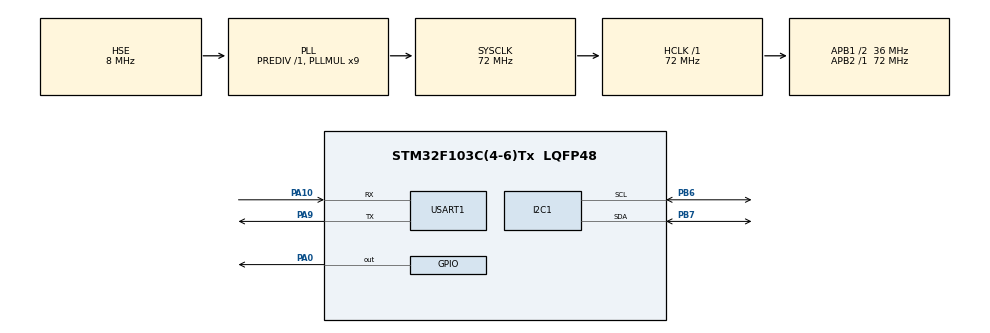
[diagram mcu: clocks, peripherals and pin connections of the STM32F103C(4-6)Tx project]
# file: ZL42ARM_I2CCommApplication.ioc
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Mcu.Family=STM32F1
Mcu.Name=STM32F103C(4-6)Tx
Mcu.Package=LQFP48
NVIC.PriorityGroup=NVIC_PRIORITYGROUP_4
NVIC.TIM3_IRQn=true\:0\:0\:false\:false\:true\:true\:true
PA0-WKUP.GPIO_ModeDefaultOutputPP=GPIO_MODE_OUTPUT_OD
PA0-WKUP.Signal=GPIO_Output
PA10.Mode=Asynchronous
PA10.Signal=USART1_RX
PA13.Mode=Trace_Asynchronous_SW
PA13.Signal=SYS_JTMS-SWDIO
PA14.Mode=Trace_Asynchronous_SW
PA14.Signal=SYS_JTCK-SWCLK
PA9.Mode=Asynchronous
PA9.Signal=USART1_TX
PB3.Mode=Trace_Asynchronous_SW
PB3.Signal=SYS_JTDO-TRACESWO
PB6.Mode=I2C
PB6.Signal=I2C1_SCL
PB7.Mode=I2C
PB7.Signal=I2C1_SDA
PD0-OSC_IN.Mode=HSE-External-Oscillator
PD0-OSC_IN.Signal=RCC_OSC_IN
PD1-OSC_OUT.Mode=HSE-External-Oscillator
PD1-OSC_OUT.Signal=RCC_OSC_OUT
ProjectManager.HeapSize=0x200
ProjectManager.StackSize=0x400
ProjectManager.TargetToolchain=STM32CubeIDE
RCC.AHBFreq_Value=72000000
RCC.APB1CLKDivider=RCC_HCLK_DIV2
RCC.APB1Freq_Value=36000000
RCC.APB1TimFreq_Value=72000000
RCC.APB2Freq_Value=72000000
RCC.APB2TimFreq_Value=72000000
RCC.EnbaleCSS=true
RCC.HCLKFreq_Value=72000000
RCC.PLLMUL=RCC_PLL_MUL9
RCC.PLLSourceVirtual=RCC_PLLSOURCE_HSE
RCC.SYSCLKFreq_VALUE=72000000
RCC.SYSCLKSource=RCC_SYSCLKSOURCE_PLLCLK
RCC.USBFreq_Value=72000000
TIM3.AutoReloadPreload=TIM_AUTORELOAD_PRELOAD_ENABLE
TIM3.Period=0x00b3
USART1.VirtualMode=VM_ASYNC
VP_TIM3_VS_ClockSourceINT.Mode=Internal
board=custom

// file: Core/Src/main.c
/* USER CODE BEGIN Header */
/**
 ******************************************************************************
 * @file           : main.c
 * @brief          : Main program body
 ******************************************************************************
 * @attention
 *
 * <h2><center>&copy; Copyright (c) 2021 STMicroelectronics.
 * All rights reserved.</center></h2>
 *
 * This software component is licensed by ST under BSD 3-Clause license,
 * the "License"; You may not use this file except in compliance with the
 * License. You may obtain a copy of the License at:
 *                        opensource.org/licenses/BSD-3-Clause
 *
 ******************************************************************************
 */
/* USER CODE END Header */
#include "main.h"
#include "i2c.h"
#include "tim.h"
#include "usart.h"
#include "gpio.h"

/* USER CODE BEGIN Includes */
#include <stdio.h>
/* USER CODE END Includes */

/* USER CODE BEGIN PTD */
typedef

/* USER CODE END PTD */

/* USER CODE BEGIN PD */
#define I2C_RTC_WRITE_ADDR 0xa0
#define I2C_RTC_READ_ADDR 0xa1

// Currently unused
#define I2C_EXPANDER_01_WRITE_ADDR 0x40
#define I2C_EXPANDER_01_READ_ADDR 0x41

// Only LED, on 3 lowest bits
#define I2C_EXPANDER_LED_WRITE_ADDR 0x70
#define I2C_EXPANDER_LED_READ_ADDR 0x71

// P0 -> RS
// P1 -> RW
// P2 -> E
// P3 -> <backlight>
// P4 -> D4
// P5 -> D5
// P6 -> D6
// P7 -> D7

#define	I2C_EXPANDER_MAX_TIMEOUT	0xffff

// HD44780
#define I2C_EXPANDER_LCD_DISPLAY_WRITE_ADDR 0x7e
#define I2C_EXPANDER_LCD_DISPLAY_READ_ADDR 0x7f

/* USER CODE END PD */

/* USER CODE BEGIN PV */
char expander_data;
uint8_t tim_status;
uint32_t timer[10];
/* USER CODE END PV */

void SystemClock_Config(void);
/* USER CODE BEGIN PFP */
 void HAL_TIM_PeriodElapsedCallback(TIM_HandleTypeDef *htim);
/* USER CODE END PFP */

/* USER CODE BEGIN 0 */
// test func, for communication
void LED_SendDataToExpander(uint8_t color) {
	uint8_t data_to_send[4];
	switch (color) {
	case 0:
		data_to_send[0] = 0x07;
		break;
	case 1:
		data_to_send[0] = 0x06;
		break;
	case 2:
		data_to_send[0] = 0x05;
		break;
	case 3:
		data_to_send[0] = 0x03;
		break;
	default:
		data_to_send[0] = 0x00;
		break;
	}

	HAL_I2C_Master_Transmit(&hi2c1, I2C_EXPANDER_LED_WRITE_ADDR, data_to_send,
			1, I2C_EXPANDER_MAX_TIMEOUT);
}

uint8_t LED_ReadDataFromExpander(){
	uint8_t i2c_data_buff[4];

	i2c_data_buff[0] = 0x8;
	HAL_I2C_Master_Transmit(&hi2c1, I2C_EXPANDER_LED_WRITE_ADDR, &i2c_data_buff[0],
				1, I2C_EXPANDER_MAX_TIMEOUT);

	// data_to_send[2]
	HAL_I2C_Master_Receive(&hi2c1, I2C_EXPANDER_LED_READ_ADDR, &i2c_data_buff[2], 1, I2C_EXPANDER_MAX_TIMEOUT);
	return i2c_data_buff[2];
}

void LCD_SendDataToExpander(const uint8_t *data, uint8_t datacount) {
	HAL_I2C_Master_Transmit(&hi2c1, I2C_EXPANDER_LCD_DISPLAY_WRITE_ADDR, data,
			datacount, I2C_EXPANDER_MAX_TIMEOUT);
}

uint8_t LCD_ReadDataFromExpander() {
	uint8_t buffer_to_send;
	uint8_t read_buffer[4];
	buffer_to_send = 0xf0;		// read only HiNibble of the expander

	buffer_to_send = buffer_to_send & ~(1);			// clear RS
	buffer_to_send = buffer_to_send | (1 << 1);		// set R/W
	buffer_to_send = buffer_to_send & ~(1 << 2); 	// clear E
	buffer_to_send = buffer_to_send | (1 << 3);
	HAL_I2C_Master_Transmit(&hi2c1, I2C_EXPANDER_LCD_DISPLAY_WRITE_ADDR,
			buffer_to_send, 1, I2C_EXPANDER_MAX_TIMEOUT);

	buffer_to_send = buffer_to_send & ~(1);			// clear RS
	buffer_to_send = buffer_to_send | (1 << 1);		// set R/W
	buffer_to_send = buffer_to_send | (1 << 2); 	// set E
	buffer_to_send = buffer_to_send | (1 << 3);
	HAL_I2C_Master_Transmit(&hi2c1, I2C_EXPANDER_LCD_DISPLAY_WRITE_ADDR,
			buffer_to_send, 1, I2C_EXPANDER_MAX_TIMEOUT);

	// read data from I2C expander
	HAL_I2C_Master_Receive(&hi2c1, I2C_EXPANDER_LCD_DISPLAY_READ_ADDR,
			&read_buffer[0], 1, I2C_EXPANDER_MAX_TIMEOUT);

	buffer_to_send = buffer_to_send | (1 << 1);		// set R/W
	buffer_to_send = buffer_to_send & ~(1 << 2); 	// clear E
	buffer_to_send = buffer_to_send | (1 << 3);
	HAL_I2C_Master_Transmit(&hi2c1, I2C_EXPANDER_LCD_DISPLAY_WRITE_ADDR,
			buffer_to_send, 1, I2C_EXPANDER_MAX_TIMEOUT);

	buffer_to_send = buffer_to_send | (1 << 1);		// set R/W
	buffer_to_send = buffer_to_send | (1 << 2); 	// set E
	buffer_to_send = buffer_to_send | (1 << 3);
	HAL_I2C_Master_Transmit(&hi2c1, I2C_EXPANDER_LCD_DISPLAY_WRITE_ADDR,
			buffer_to_send, 1, I2C_EXPANDER_MAX_TIMEOUT);

	// read data from I2C expander
	HAL_I2C_Master_Receive(&hi2c1, I2C_EXPANDER_LCD_DISPLAY_READ_ADDR,
			&read_buffer[1], 1, I2C_EXPANDER_MAX_TIMEOUT);

	buffer_to_send = buffer_to_send & ~(1 << 1);		// set R/W
		buffer_to_send = buffer_to_send & ~(1 << 2); 	// clear E
		buffer_to_send = buffer_to_send | (1 << 3);
		HAL_I2C_Master_Transmit(&hi2c1, I2C_EXPANDER_LCD_DISPLAY_WRITE_ADDR,
				buffer_to_send, 1, I2C_EXPANDER_MAX_TIMEOUT);

	return read_buffer[0] | (read_buffer[1] >> 4);
}

void LCD_SetBacklight(uint8_t state) {
	uint8_t buff[2];
	if (0 != state)
		buff[0] |= (1 << 3);
	else
		buff[0] &= ~(1 << 3);

	LCD_SendDataToExpander(buff, 1);
}

void I2C_LCD_SendData(uint8_t data) {
	uint8_t databuff[2];
	// send HiNibble
	databuff[0] = (data & 0xf0) | 0x09;
	LCD_SendDataToExpander(databuff, 1);
	HAL_Delay(1);

	databuff[0] = (data & 0xf0) | 0x0d;
	LCD_SendDataToExpander(databuff, 1);
	HAL_Delay(1);

	// send LoNibble
	databuff[0] = ((data & 0x0f) << 4) | 0x09;
	LCD_SendDataToExpander(databuff, 1);
	HAL_Delay(1);

	databuff[0] = ((data & 0x0f) << 4) | 0x0d;
	LCD_SendDataToExpander(databuff, 1);
	HAL_Delay(1);
}

void I2C_LCD_SendCommandByte(uint8_t data) {
	uint8_t databuff[2];

	// send HiNibble
	databuff[0] = (data & 0xf0) | 0x08;
	LCD_SendDataToExpander(databuff, 1);
	HAL_Delay(1);

	databuff[0] = (data & 0xf0) | 0x0c;
	LCD_SendDataToExpander(databuff, 1);
	HAL_Delay(1);

	// send LoNibble
	databuff[0] = ((data & 0x0f) << 4) | 0x08;
	LCD_SendDataToExpander(databuff, 1);
	HAL_Delay(1);

	databuff[0] = ((data & 0x0f) << 4) | 0x0c;
	LCD_SendDataToExpander(databuff, 1);
	HAL_Delay(1);
}

uint8_t I2C_LCD_ReadData() {
	uint8_t databuff[2];
	//init_buff[0] = 0xf8;	// D[7..4] = 0x03 BL = 1, E = 0, RW = 0, RS = 0
	//LCD_SendDataToExpander(init_buff, 1);
	//init_buff[0] = 0xfc;	// D[7..4] = 0x03 BL = 1, E = 0, RW = 0, RS = 0
	//LCD_SendDataToExpander(init_buff, 1);
	return 0;
}

void I2C_LCDInit() {
	uint8_t init_buff[2];

	HAL_Delay(1500);
	init_buff[0] = 0x38;	// D[7..4] = 0x03 BL = 1, E = 0, RW = 0, RS = 0
	LCD_SendDataToExpander(init_buff, 1);

	init_buff[0] = 0x3c;	// D[7..4] = 0x03 BL = 1, E = 1, RW = 0, RS = 0
	LCD_SendDataToExpander(init_buff, 1);
	HAL_Delay(4);

	// (2)
	init_buff[0] = 0x38;	// D[7..4] = 0x03 BL = 1, E = 0, RW = 0, RS = 0
	LCD_SendDataToExpander(init_buff, 1);

	init_buff[0] = 0x3c;	// D[7..4] = 0x03 BL = 1, E = 1, RW = 0, RS = 0
	LCD_SendDataToExpander(init_buff, 1);
	HAL_Delay(1);

	// (3)
	init_buff[0] = 0x38;	// D[7..4] = 0x03 BL = 1, E = 0, RW = 0, RS = 0
	LCD_SendDataToExpander(init_buff, 1);

	init_buff[0] = 0x3c;	// D[7..4] = 0x03 BL = 1, E = 1, RW = 0, RS = 0
	LCD_SendDataToExpander(init_buff, 1);
	HAL_Delay(1);

	//
	init_buff[0] = 0x28;	// D[7..4] = 0x02 BL = 1, E = 0, RW = 0, RS = 0
	LCD_SendDataToExpander(init_buff, 1);

	init_buff[0] = 0x2c;	// D[7..4] = 0x02 BL = 1, E = 1, RW = 0, RS = 0
	LCD_SendDataToExpander(init_buff, 1);

	// Właściwa inicjalizacja zakończona, ustawianie parametrów
	// Ustawiamy parametry: N = 1 F = 0
	I2C_LCD_SendCommandByte(0x28);

	I2C_LCD_SendCommandByte(0x08);

	I2C_LCD_SendCommandByte(0x01);

	// I/D = 1 S = 0
	I2C_LCD_SendCommandByte(0x06);

}
void HAL_TIM_PeriodElapsedCallback(TIM_HandleTypeDef *htim){
	if (TIM3 == htim->Instance){
		my_Tim3_Elapsed();
	}
}
/* USER CODE END 0 */

int main(void)
{
  /* USER CODE BEGIN 1 */
	uint8_t tmp_soft_tmr_iterator;
	char curr_color;

	uint8_t i2c_data_count;
	char i2c_comm_buffer[256];

	uint8_t backlight;

	uint8_t data_to_send, command_to_send;

	uint8_t testvar;

	uint8_t counter;
	uint8_t line_01[16] = "Juz umiem       ";
	uint8_t *line1_ptr = &line_01[0];
	uint8_t line_02[16] = "  w wyswietlacz!";
	uint8_t *line2_ptr = &line_02[0];

  /* USER CODE END 1 */

  /* MCU Configuration--------------------------------------------------------*/

  /* Reset of all peripherals, Initializes the Flash interface and the Systick. */
  HAL_Init();

  /* Configure the system clock */
  SystemClock_Config();

  /* Initialize all configured peripherals */
  MX_GPIO_Init();
  MX_I2C1_Init();
  MX_USART1_UART_Init();
  MX_TIM3_Init();
  /* USER CODE BEGIN 2 */

  // LCD init
	I2C_LCDInit();
	// (1)

	// uruchamiamy timer[0]
	HAL_TIM_Base_Start_IT(&htim3);

	timer[0] = 500000000;

  /* USER CODE END 2 */

  /* Infinite loop */
	while (1) {

    /* USER CODE BEGIN 3 */

		if (tim_status) {
			// timer elapsed, need to be updated
			/* for (tmp_soft_tmr_iterator = 0; tmp_soft_tmr_iterator < 10;
					tmp_soft_tmr_iterator++) {
				if (0 != timer[tmp_soft_tmr_iterator]) {
					--timer[tmp_soft_tmr_iterator];
				} else {
					// run action

				}
			}*/
			if (0 != timer[0]){
			HAL_GPIO_TogglePin(GPIOA, GPIO_PIN_0);
			--timer[0];
			} else
				timer[0] = 500000000;
			/* if (curr_color < 5)
				curr_color++;
			else
				curr_color = 0;
			LED_SendDataToExpander(curr_color);
			tim_status = 0;
			*/
		}

		// This block is only for testing
		if (0) {
			I2C_LCD_SendCommandByte(0x08 + 0x04 + 0x02);

			// set pos to 0,0
			I2C_LCD_SendCommandByte(0x80);
			for (counter = 0; counter < 16; counter++) {
				I2C_LCD_SendData(*line1_ptr++);
			}
			line1_ptr = &line_01;

			i2c_comm_buffer[0]=LCD_ReadDataFromExpander();

			// set pos to 0,1
			I2C_LCD_SendCommandByte(0x80 + 0x40);
			for (counter = 0; counter < 16; counter++) {
				I2C_LCD_SendData(*line2_ptr++);
			}
			line2_ptr = &line2_ptr;

			testvar = LED_ReadDataFromExpander();
			if (testvar & 0x80){
				LED_SendDataToExpander(5);
			}
			else {
				LED_SendDataToExpander(0);
			}
		}

	}
  /* USER CODE END 3 */
}

void SystemClock_Config(void)
{
  RCC_OscInitTypeDef RCC_OscInitStruct = {0};
  RCC_ClkInitTypeDef RCC_ClkInitStruct = {0};

  /** Initializes the RCC Oscillators according to the specified parameters
  * in the RCC_OscInitTypeDef structure.
  */
  RCC_OscInitStruct.OscillatorType = RCC_OSCILLATORTYPE_HSE;
  RCC_OscInitStruct.HSEState = RCC_HSE_ON;
  RCC_OscInitStruct.HSEPredivValue = RCC_HSE_PREDIV_DIV1;
  RCC_OscInitStruct.HSIState = RCC_HSI_ON;
  RCC_OscInitStruct.PLL.PLLState = RCC_PLL_ON;
  RCC_OscInitStruct.PLL.PLLSource = RCC_PLLSOURCE_HSE;
  RCC_OscInitStruct.PLL.PLLMUL = RCC_PLL_MUL9;
  if (HAL_RCC_OscConfig(&RCC_OscInitStruct) != HAL_OK)
  {
    Error_Handler();
  }
  /** Initializes the CPU, AHB and APB buses clocks
  */
  RCC_ClkInitStruct.ClockType = RCC_CLOCKTYPE_HCLK|RCC_CLOCKTYPE_SYSCLK
                              |RCC_CLOCKTYPE_PCLK1|RCC_CLOCKTYPE_PCLK2;
  RCC_ClkInitStruct.SYSCLKSource = RCC_SYSCLKSOURCE_PLLCLK;
  RCC_ClkInitStruct.AHBCLKDivider = RCC_SYSCLK_DIV1;
  RCC_ClkInitStruct.APB1CLKDivider = RCC_HCLK_DIV2;
  RCC_ClkInitStruct.APB2CLKDivider = RCC_HCLK_DIV1;

  if (HAL_RCC_ClockConfig(&RCC_ClkInitStruct, FLASH_LATENCY_2) != HAL_OK)
  {
    Error_Handler();
  }
  /** Enables the Clock Security System
  */
  HAL_RCC_EnableCSS();
}

/* USER CODE BEGIN 4 */

void my_Tim3_Elapsed(void){
	tim_status = 1;
}

/* USER CODE END 4 */

void Error_Handler(void)
{
	__disable_irq();
	while (1) {
	}
}

/************************ (C) COPYRIGHT STMicroelectronics *****END OF FILE****/
